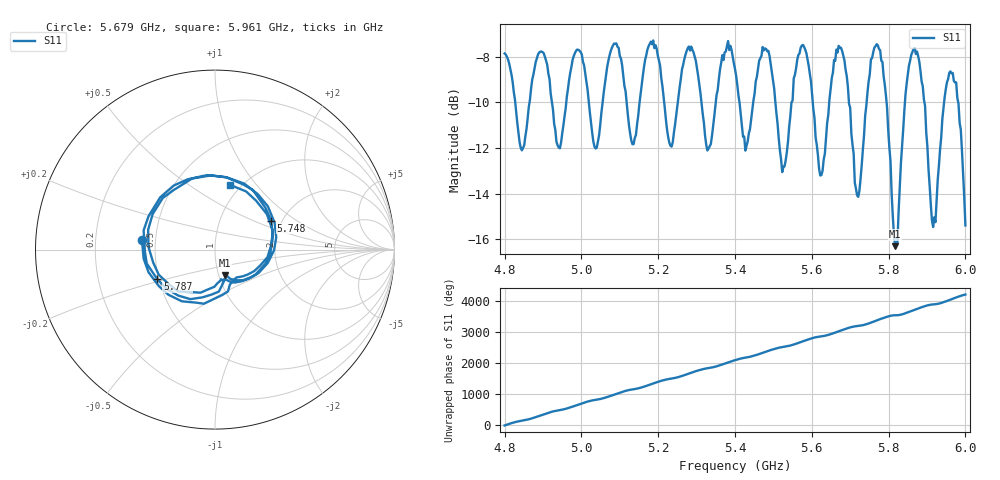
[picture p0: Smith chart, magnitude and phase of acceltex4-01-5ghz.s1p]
! NanoVNA-App
! Date: 2026-05-22 19:57:15
! Start: 4.8GHz Stop: 6GHz Points: 401
! S-Parameter data: F S11
# Hz S RI R 50
!  Frequency  S11_Real  S11_Imag
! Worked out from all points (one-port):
!   401 points, 4.8 GHz to 6 GHz, reference 50 ohm
!   lowest |S11| = -16.3 dB at 5.817 GHz (marker M1), VSWR 1.36, Z = 53.4 - j15.6 ohm
!   |S11| at or under -10 dB: 5.697 GHz to 5.743 GHz (46 MHz wide, 0.804 % of centre); 5.795 GHz to 5.843 GHz (47.78 MHz wide, 0.821 % of centre); 5.893 GHz to 5.945 GHz (51.13 MHz wide, 0.864 % of centre) (the widest 3 of 13)
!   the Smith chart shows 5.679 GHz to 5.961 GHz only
!   S11 on the Smith chart (normalised r, x): 5.679 GHz: 0.42, +0.05; 5.748 GHz: 1.76, +0.65; 5.787 GHz: 0.49, -0.19; 5.961 GHz: 0.90, +0.75
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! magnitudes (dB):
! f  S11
! 4.8 GHz  -7.9
! 4.845 GHz  -12.1
! 4.893 GHz  -7.8
! 4.95 GHz  -11.4
! 4.986 GHz  -7.7
! 5.037 GHz  -12.0
! 5.1 GHz  -8.0
! 5.133 GHz  -11.8
! 5.181 GHz  -7.3
! 5.25 GHz  -10.1
! 5.4 GHz  -8.5
! 5.43 GHz  -11.9
! 5.484 GHz  -7.7
! 5.526 GHz  -12.8
! 5.55 GHz  -9.9
! 5.583 GHz  -7.7
! 5.625 GHz  -13.2
! 5.679 GHz  -7.7
! 5.7 GHz  -10.2
! 5.721 GHz  -14.1
! 5.748 GHz  -9.1
! 5.787 GHz  -8.8
! 5.817 GHz  -16.3
! 5.85 GHz  -8.8
! 5.88 GHz  -8.2
! 5.916 GHz  -15.5
! 5.961 GHz  -8.6
! 6 GHz  -15.4
